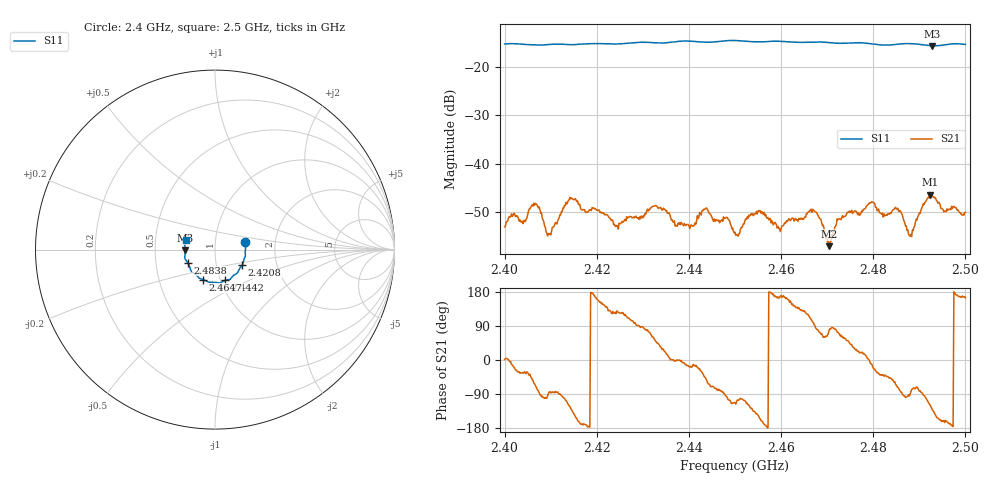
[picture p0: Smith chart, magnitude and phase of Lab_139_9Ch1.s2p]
# Hz S RI R 50
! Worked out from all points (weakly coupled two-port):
!   601 points, 2.4 GHz to 2.5 GHz, reference 50 ohm
!   highest |S21| = -46.40 dB at 2.4923 GHz (marker M1); lowest = -57.0 dB at 2.4705 GHz (marker M2)
!   lowest |S11| = -15.6 dB at 2.4928 GHz (marker M3), VSWR 1.40, Z = 35.8 - j0.36 ohm
!   |S11| at or under -10 dB: start of sweep to end of sweep
!   S12 and S22 are empty: the file has one direction only
!   S11 on the Smith chart (normalised r, x): 2.4 GHz: 1.40, +0.12; 2.4208 GHz: 1.33, -0.24; 2.4442 GHz: 1.05, -0.37; 2.4647 GHz: 0.83, -0.29; 2.4838 GHz: 0.73, -0.11; 2.5 GHz: 0.72, +0.08
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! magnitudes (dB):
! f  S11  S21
! 2.4 GHz  -15.3  -53.0
! 2.4065 GHz  -15.4  -48.6
! 2.4097 GHz  -15.3  -54.6
! 2.4142 GHz  -15.4  -46.9
! 2.4167 GHz  -15.3  -49.5
! 2.4208 GHz  -15.2  -49.9
! 2.4242 GHz  -15.2  -52.9
! 2.4333 GHz  -15.0  -49.2
! 2.4405 GHz  -14.7  -52.6
! 2.4442 GHz  -14.9  -49.7
! 2.45 GHz  -14.5  -54.1
! 2.455 GHz  -14.8  -49.8
! 2.4647 GHz  -14.9  -51.3
! 2.4667 GHz  -14.8  -50.0
! 2.4705 GHz  -15.0  -57.0
! 2.4748 GHz  -15.0  -49.8
! 2.4833 GHz  -15.5  -50.3
! 2.4838 GHz  -15.4  -50.3
! 2.4882 GHz  -15.2  -54.6
! 2.4923 GHz  -15.6  -46.4
! 2.4928 GHz  -15.6  -46.7
! 2.5 GHz  -15.3  -50.0
